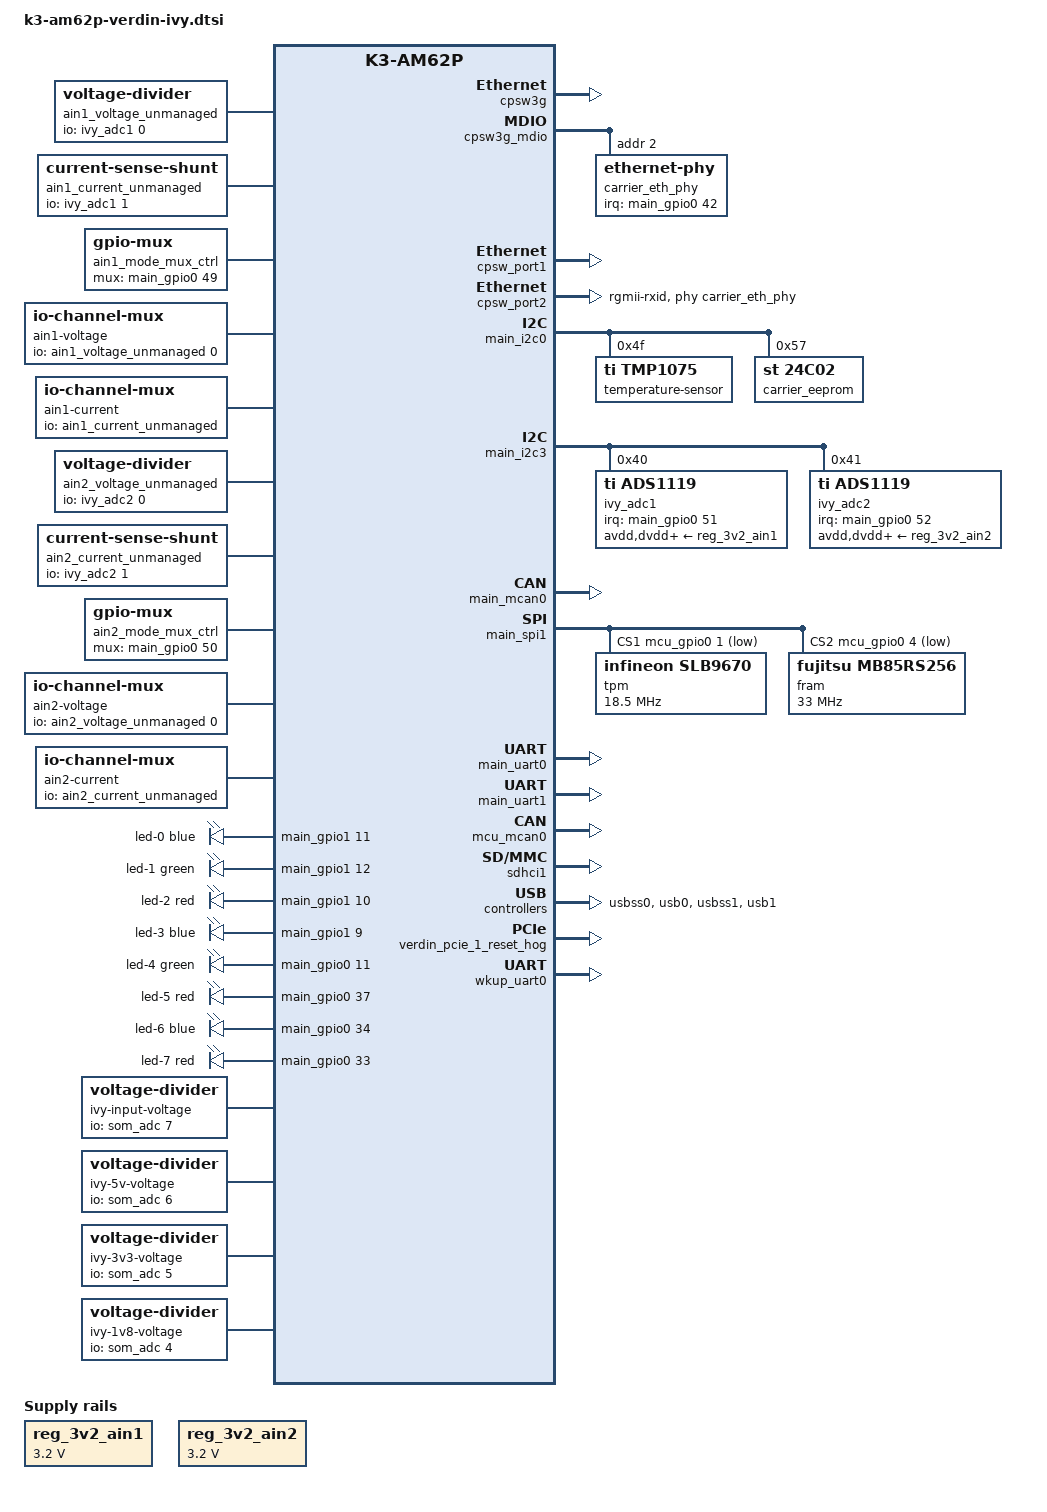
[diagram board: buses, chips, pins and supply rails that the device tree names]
// SPDX-License-Identifier: GPL-2.0-or-later OR MIT
/*
 * Copyright 2025 Toradex
 *
 * Common dtsi for Verdin AM62P SoM on Ivy carrier board
 *
 * https://www.toradex.com/computer-on-modules/verdin-arm-family/ti-am62p
 * https://www.toradex.com/products/carrier-board/ivy-carrier-board
 */

#include <dt-bindings/mux/mux.h>
#include <dt-bindings/leds/common.h>
#include <dt-bindings/net/ti-dp83867.h>

/ {
	aliases {
		eeprom1 = &carrier_eeprom;
	};

	/* AIN1 Voltage w/o AIN1_MODE gpio control */
	ain1_voltage_unmanaged: voltage-divider-ain1 {
		compatible = "voltage-divider";
		#io-channel-cells = <1>;
		io-channels = <&ivy_adc1 0>;
		full-ohms = <19>;
		output-ohms = <1>;
	};

	/* AIN1 Current w/o AIN1_MODE gpio control */
	ain1_current_unmanaged: current-sense-shunt-ain1 {
		compatible = "current-sense-shunt";
		#io-channel-cells = <0>;
		io-channels = <&ivy_adc1 1>;
		shunt-resistor-micro-ohms = <100000000>;
	};

	/* AIN1_MODE - SODIMM 216 */
	ain1_mode_mux_ctrl: mux-controller-0 {
		compatible = "gpio-mux";
		pinctrl-names = "default";
		pinctrl-0 = <&pinctrl_gpio_5>;
		#mux-control-cells = <0>;
		mux-gpios = <&main_gpio0 49 GPIO_ACTIVE_HIGH>;
	};

	ain1-voltage {
		compatible = "io-channel-mux";
		channels = "ain1_voltage", "";
		io-channels = <&ain1_voltage_unmanaged 0>;
		io-channel-names = "parent";
		mux-controls = <&ain1_mode_mux_ctrl>;
		settle-time-us = <1000>;
	};

	ain1-current {
		compatible = "io-channel-mux";
		channels = "", "ain1_current";
		io-channels = <&ain1_current_unmanaged>;
		io-channel-names = "parent";
		mux-controls = <&ain1_mode_mux_ctrl>;
		settle-time-us = <1000>;
	};

	/* AIN2 Voltage w/o AIN2_MODE gpio control */
	ain2_voltage_unmanaged: voltage-divider-ain2 {
		compatible = "voltage-divider";
		#io-channel-cells = <1>;
		io-channels = <&ivy_adc2 0>;
		full-ohms = <19>;
		output-ohms = <1>;
	};

	/* AIN2 Current w/o AIN2_MODE gpio control */
	ain2_current_unmanaged: current-sense-shunt-ain2 {
		compatible = "current-sense-shunt";
		#io-channel-cells = <0>;
		io-channels = <&ivy_adc2 1>;
		shunt-resistor-micro-ohms = <100000000>;
	};

	/* AIN2_MODE - SODIMM 218 */
	ain2_mode_mux_ctrl: mux-controller-1 {
		compatible = "gpio-mux";
		pinctrl-names = "default";
		pinctrl-0 = <&pinctrl_gpio_6>;
		#mux-control-cells = <0>;
		mux-gpios = <&main_gpio0 50 GPIO_ACTIVE_HIGH>;
	};

	ain2-voltage {
		compatible = "io-channel-mux";
		channels = "ain2_voltage", "";
		io-channels = <&ain2_voltage_unmanaged 0>;
		io-channel-names = "parent";
		mux-controls = <&ain2_mode_mux_ctrl>;
		settle-time-us = <1000>;
	};

	ain2-current {
		compatible = "io-channel-mux";
		channels = "", "ain2_current";
		io-channels = <&ain2_current_unmanaged>;
		io-channel-names = "parent";
		mux-controls = <&ain2_mode_mux_ctrl>;
		settle-time-us = <1000>;
	};

	leds {
		compatible = "gpio-leds";
		pinctrl-names = "default";
		pinctrl-0 = <&pinctrl_ivy_leds>;

		/* D7 Blue - SODIMM 30 - LEDs.GPIO1 */
		led-0 {
			color = <LED_COLOR_ID_BLUE>;
			default-state = "off";
			function = LED_FUNCTION_STATUS;
			function-enumerator = <1>;
			gpios = <&main_gpio1 11 GPIO_ACTIVE_HIGH>;
		};

		/* D7 Green - SODIMM 32 - LEDs.GPIO2 */
		led-1 {
			color = <LED_COLOR_ID_GREEN>;
			default-state = "off";
			function = LED_FUNCTION_STATUS;
			function-enumerator = <1>;
			gpios = <&main_gpio1 12 GPIO_ACTIVE_HIGH>;
		};

		/* D7 Red - SODIMM 34 - LEDs.GPIO3 */
		led-2 {
			color = <LED_COLOR_ID_RED>;
			default-state = "off";
			function = LED_FUNCTION_STATUS;
			function-enumerator = <1>;
			gpios = <&main_gpio1 10 GPIO_ACTIVE_HIGH>;
		};

		/* D8 Blue - SODIMM 36 - LEDs.GPIO4 */
		led-3 {
			color = <LED_COLOR_ID_BLUE>;
			default-state = "off";
			function = LED_FUNCTION_STATUS;
			function-enumerator = <2>;
			gpios = <&main_gpio1 9 GPIO_ACTIVE_HIGH>;
		};

		/* D8 Green - SODIMM 54 - LEDs.GPIO5 */
		led-4 {
			color = <LED_COLOR_ID_GREEN>;
			default-state = "off";
			function = LED_FUNCTION_STATUS;
			function-enumerator = <2>;
			gpios = <&main_gpio0 11 GPIO_ACTIVE_HIGH>;
		};

		/* D8 Red - SODIMM 44 - LEDs.GPIO6 */
		led-5 {
			color = <LED_COLOR_ID_RED>;
			default-state = "off";
			function = LED_FUNCTION_STATUS;
			function-enumerator = <2>;
			gpios = <&main_gpio0 37 GPIO_ACTIVE_HIGH>;
		};

		/* D9 Blue - SODIMM 46 - LEDs.GPIO7 */
		led-6 {
			color = <LED_COLOR_ID_BLUE>;
			default-state = "off";
			function = LED_FUNCTION_STATUS;
			function-enumerator = <3>;
			gpios = <&main_gpio0 34 GPIO_ACTIVE_HIGH>;
		};

		/* D9 Red - SODIMM 48 - LEDs.GPIO8 */
		led-7 {
			color = <LED_COLOR_ID_RED>;
			default-state = "off";
			function = LED_FUNCTION_STATUS;
			function-enumerator = <3>;
			gpios = <&main_gpio0 33 GPIO_ACTIVE_HIGH>;
		};
	};

	reg_3v2_ain1: regulator-3v2-ain1 {
		compatible = "regulator-fixed";
		regulator-max-microvolt = <3200000>;
		regulator-min-microvolt = <3200000>;
		regulator-name = "+3V2_AIN1";
	};

	reg_3v2_ain2: regulator-3v2-ain2 {
		compatible = "regulator-fixed";
		regulator-max-microvolt = <3200000>;
		regulator-min-microvolt = <3200000>;
		regulator-name = "+3V2_AIN2";
	};

	/* Ivy Power Supply Input Voltage */
	ivy-input-voltage {
		compatible = "voltage-divider";
		/* Verdin ADC_1 */
		io-channels = <&som_adc 7>;
		full-ohms = <204700>; /* 200K + 4.7K */
		output-ohms = <4700>;
	};

	ivy-5v-voltage {
		compatible = "voltage-divider";
		/* Verdin ADC_2 */
		io-channels = <&som_adc 6>;
		full-ohms = <39000>; /* 27K + 12K */
		output-ohms = <12000>;
	};

	ivy-3v3-voltage {
		compatible = "voltage-divider";
		/* Verdin ADC_3 */
		io-channels = <&som_adc 5>;
		full-ohms = <54000>; /* 27K + 27K */
		output-ohms = <27000>;
	};

	ivy-1v8-voltage {
		compatible = "voltage-divider";
		/* Verdin ADC_4 */
		io-channels = <&som_adc 4>;
		full-ohms = <39000>; /* 12K + 27K */
		output-ohms = <27000>;
	};
};

&main_pmx0 {
	pinctrl_ivy_leds: ivy-leds-default-pins {
		pinctrl-single,pins = <
			AM62PX_IOPAD(0x019c, PIN_INPUT, 7) /* (E24)  MCASP0_AXR1.GPIO1_9    */ /* SODIMM 36 */
			AM62PX_IOPAD(0x01a0, PIN_INPUT, 7) /* (F23)  MCASP0_AXR0.GPIO1_10   */ /* SODIMM 34 */
			AM62PX_IOPAD(0x01a4, PIN_INPUT, 7) /* (F24)  MCASP0_ACLKX.GPIO1_11  */ /* SODIMM 30 */
			AM62PX_IOPAD(0x01a8, PIN_INPUT, 7) /* (F25)  MCASP0_AFSX.GPIO1_12   */ /* SODIMM 32 */
			AM62PX_IOPAD(0x0088, PIN_INPUT, 7) /* (R24)  GPMC0_OEn_REn.GPIO0_33 */ /* SODIMM 48 */
			AM62PX_IOPAD(0x0098, PIN_INPUT, 7) /* (AA24) GPMC0_WAIT0.GPIO0_37   */ /* SODIMM 44 */
			AM62PX_IOPAD(0x008c, PIN_INPUT, 7) /* (T25)  GPMC0_WEn.GPIO0_34     */ /* SODIMM 46 */
			AM62PX_IOPAD(0x002c, PIN_INPUT, 7) /* (M25)  OSPI0_CSn0.GPIO0_11    */ /* SODIMM 54 */
		>;
	};
};

/* Verdin ETHs */
&cpsw3g {
	pinctrl-names = "default";
	pinctrl-0 = <&pinctrl_rgmii1>, <&pinctrl_rgmii2>;
	status = "okay";
};

/* MDIO, shared by Verdin ETH_1 (On-module PHY) and Verdin ETH_2_RGMII */
&cpsw3g_mdio {
	status = "okay";

	carrier_eth_phy: ethernet-phy@2 {
		reg = <2>;
		pinctrl-names = "default";
		pinctrl-0 = <&pinctrl_eth2_rgmii_int>;
		interrupt-parent = <&main_gpio0>;
		interrupts = <42 IRQ_TYPE_EDGE_FALLING>;
		ti,rx-internal-delay = <DP83867_RGMIIDCTL_2_00_NS>;
	};
};

/* Verdin ETH_1 (On-module PHY) */
&cpsw_port1 {
	status = "okay";
};

/* Verdin ETH_2_RGMII */
&cpsw_port2 {
	phy-handle = <&carrier_eth_phy>;
	phy-mode = "rgmii-rxid";
	status = "okay";
};

&main_gpio0 {
	pinctrl-names = "default";
	pinctrl-0 = <&pinctrl_pcie_1_reset>,
		    <&pinctrl_qspi1_cs2_gpio>,
		    <&pinctrl_qspi1_dqs_gpio>,
		    <&pinctrl_qspi1_io0_gpio>,
		    <&pinctrl_qspi1_io1_gpio>,
		    <&pinctrl_qspi1_io2_gpio>,
		    <&pinctrl_qspi1_io3_gpio>;
	gpio-line-names =
		"", /* 0 */
		"",
		"REL4",   /* SODIMM 66 */
		"DIGI_1", /* SODIMM 56 */
		"DIGI_2", /* SODIMM 58 */
		"REL1",   /* SODIMM 60 */
		"REL2",   /* SODIMM 62 */
		"",
		"",
		"",
		"", /* 10 */
		"",
		"REL3", /* SODIMM 64 */
		"",
		"",
		"",
		"",
		"",
		"",
		"",
		"", /* 20 */
		"",
		"",
		"",
		"",
		"",
		"",
		"",
		"",
		"",
		"", /* 30 */
		"",
		"",
		"",
		"",
		"",
		"",
		"",
		"",
		"",
		"", /* 40 */
		"",
		"",
		"",
		"",
		"",
		"",
		"",
		"",
		"",
		"", /* 50 */
		"",
		"",
		"",
		"",
		"",
		"",
		"",
		"",
		"",
		"", /* 60 */
		"",
		"",
		"",
		"",
		"",
		"",
		"",
		"",
		"",
		"", /* 70 */
		"",
		"",
		"",
		"",
		"",
		"",
		"",
		"",
		"",
		"", /* 80 */
		"",
		"",
		"",
		"",
		"",
		"",
		"",
		"",
		"",
		"", /* 90 */
		"";
};

&main_gpio1 {
	gpio-line-names =
		"", /* 0 */
		"",
		"",
		"",
		"",
		"",
		"",
		"",
		"",
		"",
		"", /* 10 */
		"",
		"",
		"",
		"",
		"",
		"",
		"",
		"",
		"",
		"", /* 20 */
		"",
		"",
		"",
		"",
		"",
		"",
		"",
		"",
		"",
		"", /* 30 */
		"",
		"",
		"",
		"",
		"",
		"",
		"",
		"",
		"",
		"", /* 40 */
		"",
		"",
		"",
		"",
		"",
		"",
		"",
		"",
		"",
		"", /* 50 */
		"";
};

/* Verdin I2C_1 */
&main_i2c0 {
	status = "okay";

	temperature-sensor@4f {
		compatible = "ti,tmp1075";
		reg = <0x4f>;
	};

	carrier_eeprom: eeprom@57 {
		compatible = "st,24c02", "atmel,24c02";
		reg = <0x57>;
		pagesize = <16>;
	};
};

/* Verdin I2C_4_CSI */
&main_i2c3 {
	status = "okay";

	ivy_adc1: adc@40 {
		compatible = "ti,ads1119";
		reg = <0x40>;
		pinctrl-names = "default";
		pinctrl-0 = <&pinctrl_gpio_7>;
		interrupt-parent = <&main_gpio0>;
		interrupts = <51 IRQ_TYPE_EDGE_FALLING>;
		avdd-supply = <&reg_3v2_ain1>;
		dvdd-supply = <&reg_3v2_ain1>;
		vref-supply = <&reg_3v2_ain1>;
		#address-cells = <1>;
		#io-channel-cells = <1>;
		#size-cells = <0>;

		/* AIN1 0-33V Voltage Input */
		channel@0 {
			reg = <0>;
			diff-channels = <0 1>;
		};

		/* AIN1 0-20mA Current Input */
		channel@1 {
			reg = <1>;
			diff-channels = <2 3>;
		};
	};

	ivy_adc2: adc@41 {
		compatible = "ti,ads1119";
		reg = <0x41>;
		pinctrl-names = "default";
		pinctrl-0 = <&pinctrl_gpio_8>;
		interrupt-parent = <&main_gpio0>;
		interrupts = <52 IRQ_TYPE_EDGE_FALLING>;
		avdd-supply = <&reg_3v2_ain2>;
		dvdd-supply = <&reg_3v2_ain2>;
		vref-supply = <&reg_3v2_ain2>;
		#address-cells = <1>;
		#io-channel-cells = <1>;
		#size-cells = <0>;

		/* AIN2 0-33V Voltage Input */
		channel@0 {
			reg = <0>;
			diff-channels = <0 1>;
		};

		/* AIN2 0-20mA Current Input */
		channel@1 {
			reg = <1>;
			diff-channels = <2 3>;
		};
	};
};

/* Verdin CAN_1 */
&main_mcan0 {
	status = "okay";
};

/* Verdin SPI_1 */
&main_spi1 {
	pinctrl-0 = <&pinctrl_main_spi1>,
		    <&pinctrl_main_spi1_cs0>,
		    <&pinctrl_gpio_1>,
		    <&pinctrl_gpio_4>;
	cs-gpios = <0>,
		   <&mcu_gpio0 1 GPIO_ACTIVE_LOW>,
		   <&mcu_gpio0 4 GPIO_ACTIVE_LOW>;
	status = "okay";

	tpm@1 {
		compatible = "infineon,slb9670", "tcg,tpm_tis-spi";
		reg = <1>;
		spi-max-frequency = <18500000>;
	};

	fram@2 {
		compatible = "fujitsu,mb85rs256", "atmel,at25";
		reg = <2>;
		address-width = <16>;
		size = <32768>;
		spi-max-frequency = <33000000>;
		pagesize = <1>;
	};
};

/* Verdin UART_3, used as the Linux console */
&main_uart0 {
	status = "okay";
};

/* Verdin UART_1 */
&main_uart1 {
	status = "okay";
};

&mcu_gpio0 {
	pinctrl-names = "default";
	pinctrl-0 = <&pinctrl_gpio_2>,
		    <&pinctrl_gpio_3>;
	gpio-line-names =
		"",
		"",
		"GPIO2", /* Verdin GPIO_2 - SODIMM 208 */
		"GPIO3", /* Verdin GPIO_3 - SODIMM 210 */
		"",
		"",
		"",
		"",
		"",
		"",
		"", /* 10 */
		"",
		"",
		"",
		"",
		"",
		"",
		"",
		"",
		"",
		"", /* 20 */
		"",
		"",
		"";
};

/* Verdin CAN_2 */
&mcu_mcan0 {
	status = "okay";
};

/* Verdin SD_1 */
&sdhci1 {
	status = "okay";
};

/* Verdin USB_1 */
&usbss0 {
	status = "okay";
};

&usb0 {
	status = "okay";
};

/* Verdin USB_2 */
&usbss1 {
	status = "okay";
};

&usb1 {
	status = "okay";
};

/* Verdin PCIE_1_RESET# */
&verdin_pcie_1_reset_hog {
	status = "okay";
};

/* Verdin UART_2 */
&wkup_uart0 {
	rs485-rts-active-low;
	rs485-rx-during-tx;
	linux,rs485-enabled-at-boot-time;
	status = "okay";
};
